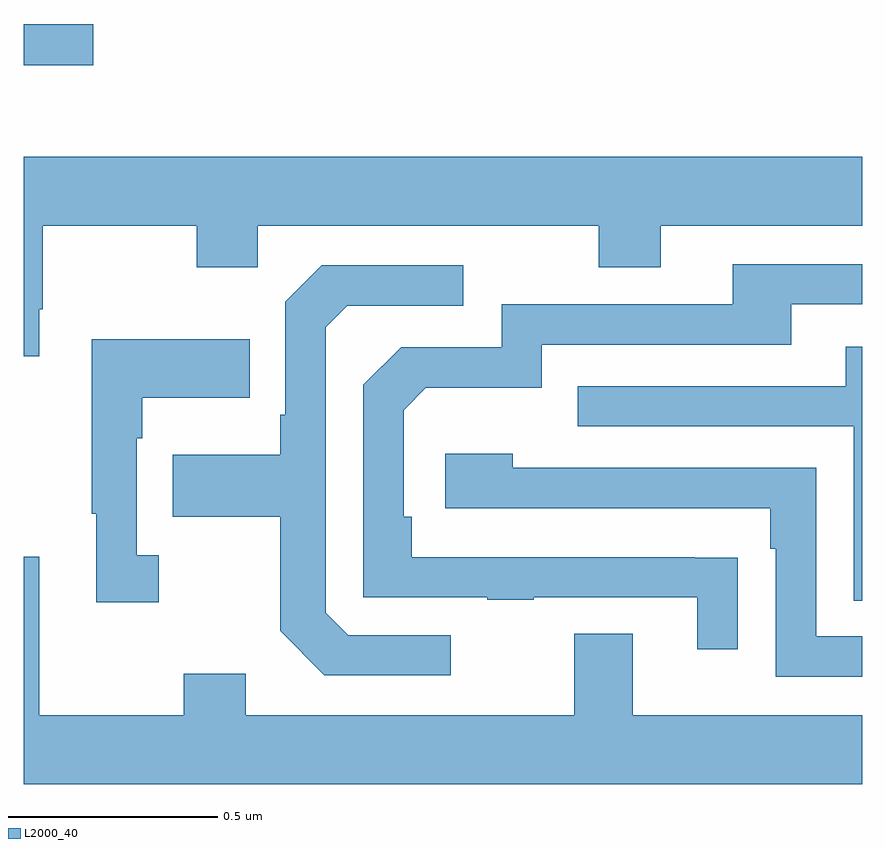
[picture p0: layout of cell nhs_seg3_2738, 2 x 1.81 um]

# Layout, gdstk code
import gdstk
lib = gdstk.Library(unit=1e-6, precision=1e-09)
def R(c, l, rs):  # rectangles x0, y0, x1, y1
    for r in rs: c.add(gdstk.rectangle(r[:2], r[2:], *l))
def P(c, l, *ps):  # polygons
    for p in ps: c.add(gdstk.Polygon(p, *l))
L2000_40 = (2000, 40)

nhs_seg3_2738 = lib.new_cell('nhs_seg3_2738')
R(nhs_seg3_2738, L2000_40, [(144,745.255,144.166,745.353)])
P(nhs_seg3_2738, L2000_40, [(144.037,744.673),(144.045,744.673),(144.045,744.872),(144.412,744.872),(144.412,744.773),(144.558,744.773),(144.558,744.872),(145.372,744.872),(145.372,744.773),(145.519,744.773),(145.519,744.872),(146,744.872),(146,745.036),(144,745.036),(144,744.561),(144.037,744.561)],
  [(145.703,744.08),(145.601,744.08),(145.601,744.081),(144.926,744.081),(144.926,744.178),(144.906,744.178),(144.906,744.432),(144.959,744.485),(145.236,744.485),(145.236,744.588),(145.831,744.588),(145.831,744.684),(146,744.684),(146,744.78),(145.691,744.78),(145.691,744.684),(145.14,744.684),(145.14,744.582),(144.9,744.582),(144.81,744.492),(144.81,743.985),(145.105,743.985),(145.105,743.98),(145.217,743.98),(145.217,743.985),(145.607,743.985),(145.607,743.862),(145.703,743.862)],
  [(145.018,743.895),(144.774,743.895),(144.72,743.949),(144.72,744.63),(144.771,744.681),(145.048,744.681),(145.048,744.777),(144.711,744.777),(144.624,744.69),(144.624,744.421),(144.612,744.421),(144.612,744.325),(144.355,744.325),(144.355,744.178),(144.612,744.178),(144.612,743.905),(144.717,743.799),(145.018,743.799)],
  [(144.322,744.086),(144.27,744.086),(144.27,744.365),(144.283,744.365),(144.283,744.461),(144.539,744.461),(144.539,744.601),(144.162,744.601),(144.162,744.185),(144.173,744.185),(144.173,743.973),(144.322,743.973)],
  [(146,744.583),(145.961,744.583),(145.961,744.489),(145.321,744.489),(145.321,744.393),(145.98,744.393),(145.98,743.977),(146,743.977)],
  [(146,743.892),(145.89,743.892),(145.89,744.294),(145.166,744.294),(145.166,744.328),(145.005,744.328),(145.005,744.198),(145.781,744.198),(145.781,744.101),(145.794,744.101),(145.794,743.796),(146,743.796)],
  [(146,743.704),(145.453,743.704),(145.453,743.899),(145.313,743.899),(145.313,743.704),(144.529,743.704),(144.529,743.803),(144.382,743.803),(144.382,743.704),(144.037,743.704),(144.037,744.082),(144,744.082),(144,743.54),(146,743.54)])

lib.write_gds('nhs_seg3_2738.gds')
